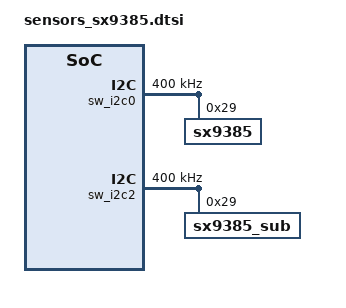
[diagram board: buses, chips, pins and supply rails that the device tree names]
#define SX9385 1
#define SX9385_BUILT_IN 1
#define SX9385_SUB 1
#define SX9385_SUB_BUILT_IN 1
#define SX9385_SUB2 1
#define SX9385_SUB2_BUILT_IN 1

#define GRIP_CH1			0x1
#define GRIP_CH2			0x2
#define GRIP_CH1_CH2		0x3
#define GRIP_NONE			0

#if 1
&sw_i2c0 {
	gpios = <SEC_GPIO_REF(AP,pio,104) 0 /* sda */
			SEC_GPIO_REF(AP,pio,103) 0>; /* scl */
	pinctrl-0 = <&grip_i2c_sda
				 &grip_i2c_scl
				>;
	#address-cells = <1>;
	#size-cells = <0>;
	status = "okay";
	clock-frequency = <400000>;
	pinctrl-names = "default";

	sx9385: sx9385-i2c@29 {
		compatible = "sx9385";
		reg = <0x29>;
		status = "okay";
		pinctrl-names = "default";
		pinctrl-0 = <&grip_int
#if 1
					 &grip_ldo_en
#endif
					>;

		interrupt-parent = <SEC_GPIO_TYPE(AP,pio,12)>;
		interrupts = <SEC_GPIO_NUM(AP,pio,12) 0 0>;

#if 1
		sx9385,ldo_en = <SEC_GPIO_REF(AP,pio,153) 0>;
#else
		sx9385,dvdd_vreg_name = "VDD_GRIP_3P3";
#endif
		sx9385,nirq-gpio = <SEC_GPIO_REF(AP,pio,12) 0>;
		sx9385,unknown_sel = <3>;
		sx9385,main-phases = <0x14>;
		sx9385,ref-phases = <0xA>;
#if 1
		sx9385,set_up_channels = <GRIP_CH1_CH2>;
#else
		sx9385,num_of_channels = <${sx9385_main_num_of_channels}>;
#endif
		sx9385,num_of_refs = <2>; /* lego! */
		sx9385,reg-num = <42>;
		sx9385,reg-init = /bits/ 8 <
		      0x02	0x00
      0x04	0x00
      0x05	0x18
      0x07	0xc0
      0x08	0x11
      0x0b	0x0a
      0x0d	0x06
      0x0e	0x06
      0x47	0x56
      0x4d	0x56
      0x54	0x56
      0x5a	0x56
      0x48	0x05
      0x4e	0x05
      0x55	0x05
      0x5b	0x05
      0x49	0x28
      0x4f	0x28
      0x56	0x34
      0x5c	0x34
      0x79	0x1b
      0x7a	0x20
      0x80	0x20
      0x7b	0x60
      0x7d	0x35
      0x81	0x60
      0x7c	0x1a
      0x82	0x1a
      0x83	0x35
      0x7e	0x1a
      0x84	0x36
      0x7f	0x1b
      0x91	0x00
      0x92	0x00
      0x9e	0x00
      0x8c	0x00
      0x90	0x00
      0x4a	0x10
      0x50	0x05
      0x57	0x40
      0x5d	0x04
      0x09	0x78
		>;
	};
};

&pio {
	grip_i2c_sda: grip-i2c-sda {
		GPIO_CONFIG_PUD_DRV(AP,pio,104, FUNC_INPUT, PULL_NONE, DRV_LV1);
	};

	grip_i2c_scl: grip-i2c-scl {
		GPIO_CONFIG_PUD_DRV(AP,pio,103, FUNC_INPUT, PULL_NONE, DRV_LV1);
	};
};
&pio {
	grip_int: grip-int {
		GPIO_CONFIG_PUD_DRV(AP,pio,12, FUNC_INPUT_WAKEUP, PULL_NONE, DRV_LV1);
	};
};

#if 1
&pio {
	grip_ldo_en: grip-ldo-en {
		GPIO_CONFIG_PUD(AP,pio,153, FUNC_OUTPUT_HIGH, PULL_NONE);
	};
};
#endif
#endif

#if 1
&sw_i2c2 {
	gpios = <SEC_GPIO_REF(AP,pio,108) 0 /* sda */
			SEC_GPIO_REF(AP,pio,107) 0>; /* scl */
	pinctrl-0 = <&grip_sub_i2c_sda
				 &grip_sub_i2c_scl
				>;
	#address-cells = <1>;
	#size-cells = <0>;
	status = "okay";
	clock-frequency = <400000>;
	pinctrl-names = "default";
	sx9385_sub: sx9385_sub-i2c@29 {
		compatible = "sx9385_sub";
		reg = <0x29>;
		status = "okay";
		pinctrl-names = "default";
		pinctrl-0 = <&grip_sub_int
#if 0
					 &grip_sub_ldo_en
#endif
		>;
		interrupt-parent = <SEC_GPIO_TYPE(AP,pio,5)>;
		interrupts = <SEC_GPIO_NUM(AP,pio,5) 0 0>;
#if 0
		sx9385,ldo_en = <SEC_GPIO_REF(${gpio_grip_sub_en}) 0>;
#elif 0
		sx9385,dvdd_vreg_name = "VDD_GRIP_SUB_3P3";
#endif

		sx9385,nirq-gpio = <SEC_GPIO_REF(AP,pio,5) 0>;
#if 1
		sx9385,unknown_sel = <3>;
#endif
		sx9385,main-phases = <0x14>;
		sx9385,ref-phases = <0xA>;
#if 1
		sx9385,set_up_channels = <GRIP_CH1>;
#else
		sx9385,num_of_channels = <${sx9385_sub_num_of_channels}>;
#endif
		sx9385,num_of_refs = <2>; /* lego! */
		sx9385,reg-num = <42>;
		sx9385,reg-init = /bits/ 8 <
		      0x02	0x00
      0x04	0x00
      0x05	0x18
      0x07	0xc0
      0x08	0x11
      0x0b	0x0a
      0x0d	0x00
      0x0e	0x66
      0x47	0x55
      0x4d	0x55
      0x54	0x55
      0x5a	0x55
      0x48	0x05
      0x4e	0x05
      0x55	0x05
      0x5b	0x05
      0x49	0x40
      0x4f	0x40
      0x56	0x34
      0x5c	0x34
      0x79	0x1b
      0x7a	0x20
      0x80	0x20
      0x7b	0x60
      0x7d	0x35
      0x81	0x60
      0x7c	0x17
      0x82	0x1a
      0x83	0x35
      0x7e	0x15
      0x84	0x1a
      0x7f	0x1b
      0x91	0x00
      0x92	0x00
      0x9e	0x00
      0x8c	0x00
      0x90	0x00
      0x4a	0x10
      0x50	0x01
      0x57	0x40
      0x5d	0x04
      0x09	0x18
		>;
	};
};

&pio {
	grip_sub_i2c_sda: grip-sub-i2c-sda {
		GPIO_CONFIG_PUD_DRV(AP,pio,108, FUNC_INPUT, PULL_NONE, DRV_LV1);
	};
	grip_sub_i2c_scl: grip-sub-i2c-scl {
		GPIO_CONFIG_PUD_DRV(AP,pio,107, FUNC_INPUT, PULL_NONE, DRV_LV1);
	};
};

&pio {
	grip_sub_int: grip-sub-int {
		GPIO_CONFIG_PUD_DRV(AP,pio,5, FUNC_INPUT_WAKEUP, PULL_NONE, DRV_LV1);
	};
};

#if 0
&${gpio_grip_sub_en_parent} {
	grip_sub_ldo_en: grip-sub-ldo-en {
		GPIO_CONFIG_PUD(${gpio_grip_sub_en}, FUNC_OUTPUT_LOW, PULL_NONE);
	};
};
#endif
#endif

#if 0
&${i2c_grip_sub2} {
	gpios = <SEC_GPIO_REF(${gpio_grip_sub2_i2c_sda}) 0 /* sda */
			SEC_GPIO_REF(${gpio_grip_sub2_i2c_scl}) 0>; /* scl */
	pinctrl-0 = <&grip_sub2_i2c_sda
				 &grip_sub2_i2c_scl
				>;
	#address-cells = <1>;
	#size-cells = <0>;
	status = "okay";
	clock-frequency = <400000>;
	pinctrl-names = "default";
	sx9385_sub2: sx9385_sub2-i2c@29 {
		compatible = "sx9385_sub2";
		reg = <0x29>;
		status = "okay";
		pinctrl-names = "default";
		pinctrl-0 = <&grip_sub2_int
#if 0
					 &grip_sub2_ldo_en
#endif
		>;
		interrupt-parent = <SEC_GPIO_TYPE(${gpio_grip_sub2_irq})>;
		interrupts = <SEC_GPIO_NUM(${gpio_grip_sub2_irq}) 0 0>;
#if 0
		sx9385,ldo_en = <SEC_GPIO_REF(${gpio_grip_sub2_en}) 0>;
#elif 0
		sx9385,dvdd_vreg_name = "VDD_GRIP_SUB2_3P3";
#endif

		sx9385,nirq-gpio = <SEC_GPIO_REF(${gpio_grip_sub2_irq}) 0>;
#if 1
		sx9385,unknown_sel = <3>;
#endif
		sx9385,main-phases = <0x14>;
		sx9385,ref-phases = <0xA>;
#if 1
		sx9385,set_up_channels = <GRIP_NONE>;
#else
		sx9385,num_of_channels = <${sx9385_sub2_num_of_channels}>;
#endif
		sx9385,num_of_refs = <2>; /* lego! */
		sx9385,reg-num = <>;
		sx9385,reg-init = /bits/ 8 <
		
		>;
	};
};

&${gpio_grip_sub2_i2c_parent} {
	grip_sub2_i2c_sda: grip-sub2-i2c-sda {
		GPIO_CONFIG_PUD_DRV(${gpio_grip_sub2_i2c_sda}, FUNC_INPUT, PULL_NONE, DRV_LV1);
	};
	grip_sub2_i2c_scl: grip-sub2-i2c-scl {
		GPIO_CONFIG_PUD_DRV(${gpio_grip_sub2_i2c_scl}, FUNC_INPUT, PULL_NONE, DRV_LV1);
	};
};

&${gpio_grip_sub2_irq_parent} {
	grip_sub2_int: grip-sub2-int {
		GPIO_CONFIG_PUD_DRV(${gpio_grip_sub2_irq}, FUNC_INPUT_WAKEUP, PULL_NONE, DRV_LV1);
	};
};

#if 0
&${gpio_grip_sub2_en_parent} {
	grip_sub2_ldo_en: grip-sub2-ldo-en {
		GPIO_CONFIG_PUD(${gpio_grip_sub2_en}, FUNC_OUTPUT_LOW, PULL_NONE);
	};
};
#endif
#endif

#if 0
&${i2c_grip_wifi} {
	gpios = <SEC_GPIO_REF(${gpio_grip_wifi_i2c_sda}) 0 /* sda */
			SEC_GPIO_REF(${gpio_grip_wifi_i2c_scl}) 0>; /* scl */
	pinctrl-0 = <&grip_wifi_i2c_sda
				 &grip_wifi_i2c_scl
				>;
	#address-cells = <1>;
	#size-cells = <0>;
	status = "okay";
	clock-frequency = <400000>;
	pinctrl-names = "default";
	sx9385_wifi: sx9385_wifi-i2c@29 {
		compatible = "sx9385_wifi";
		reg = <0x29>;
		status = "okay";
		pinctrl-names = "default";
		pinctrl-0 = <&grip_wifi_int
#if 0
					 &grip_wifi_ldo_en
#endif
		>;
		interrupt-parent = <SEC_GPIO_TYPE(${gpio_grip_wifi_irq})>;
		interrupts = <SEC_GPIO_NUM(${gpio_grip_wifi_irq}) 0 0>;
#if 0
		sx9385,ldo_en = <SEC_GPIO_REF(${gpio_grip_wifi_en}) 0>;
#elif 0
		sx9385,dvdd_vreg_name = "VDD_GRIP_wifi_3P3";
#endif

		sx9385,nirq-gpio = <SEC_GPIO_REF(${gpio_grip_wifi_irq}) 0>;
#if 1
		sx9385,unknown_sel = <3>;
#endif
		sx9385,main-phases = <0x14>;
		sx9385,ref-phases = <0xA>;
#if 1
		sx9385,set_up_channels = <GRIP_NONE>;
#else
		sx9385,num_of_channels = <${sx9385_wifi_num_of_channels}>;
#endif
		sx9385,num_of_refs = <2>; /* lego! */
		sx9385,reg-num = <>;
		sx9385,reg-init = /bits/ 8 <
		
		>;
	};
};

&${gpio_grip_wifi_i2c_parent} {
	grip_wifi_i2c_sda: grip-wifi-i2c-sda {
		GPIO_CONFIG_PUD_DRV(${gpio_grip_wifi_i2c_sda}, FUNC_INPUT, PULL_NONE, DRV_LV1);
	};
	grip_wifi_i2c_scl: grip-wifi-i2c-scl {
		GPIO_CONFIG_PUD_DRV(${gpio_grip_wifi_i2c_scl}, FUNC_INPUT, PULL_NONE, DRV_LV1);
	};
};

&${gpio_grip_wifi_irq_parent} {
	grip_wifi_int: grip-wifi-int {
		GPIO_CONFIG_PUD_DRV(${gpio_grip_wifi_irq}, FUNC_INPUT_WAKEUP, PULL_NONE, DRV_LV1);
	};
};

#if 0
&${gpio_grip_wifi_en_parent} {
	grip_wifi_ldo_en: grip-wifi-ldo-en {
		GPIO_CONFIG_PUD(${gpio_grip_wifi_en}, FUNC_OUTPUT_LOW, PULL_NONE);
	};
};
#endif
#endif

/* /home/dpi/qb5_8814/workspace/P4_1716/android/kernel/kmodule/sensors/sx9385/dts/sx9385_hwparam.a17.dtsi */
&pio {
	grip2_gpio_nc1: grip_gpio_nc1 {
		GPIO_CONFIG_PUD_DRV(AP,tlmm,107, FUNC_INPUT, PULL_DOWN, DRV_LV1);
	};

	grip2_gpio_nc2: grip_gpio_nc2 {
		GPIO_CONFIG_PUD_DRV(AP,tlmm,108, FUNC_INPUT, PULL_DOWN, DRV_LV1);
	};
};

&pio {
	grip2_irq_nc: grip-irq-nc {
		GPIO_CONFIG_PUD_DRV(AP,tlmm,5, FUNC_INPUT, PULL_DOWN, DRV_LV1);
	};
};

&sw_i2c0 {
	pinctrl-0 = <&grip_i2c_sda
				 &grip_i2c_scl
				 &grip2_gpio_nc1
				 &grip2_gpio_nc2
				>;
};

&sx9385 {
	pinctrl-0 = <&grip_int
				&grip2_irq_nc
#if 1
				&grip_ldo_en
#endif
				>;
};



/* /home/dpi/qb5_8814/workspace/P4_1716/android/kernel/kmodule/sensors/sx9385/dts/sx9385_hwparam.a17.03.dtsi */
#if 1
&grip_sub_i2c_sda {
	pins_cmd_dat {
		pinmux = <MTK_PINMUX(SEC_GPIO_NUM(AP,pio,108), 1)>;
		bias-pull-up;
	};
};
&grip_sub_i2c_scl {
	pins_cmd_dat {
		pinmux = <MTK_PINMUX(SEC_GPIO_NUM(AP,pio,107), 1)>;
		bias-pull-up;
	};
};
#endif

&sw_i2c0 {
	pinctrl-0 = <&grip_i2c_sda
				 &grip_i2c_scl
				>;
};

&sx9385 {
	pinctrl-0 = <&grip_int
#if 1
				&grip_ldo_en
#endif
				>;
	sx9385,ldo_en = <SEC_GPIO_REF(AP,pio,153) 0>;
};

&sx9385_sub {
	sx9385,ldo_en = <SEC_GPIO_REF(AP,pio,153) 0>;
};
